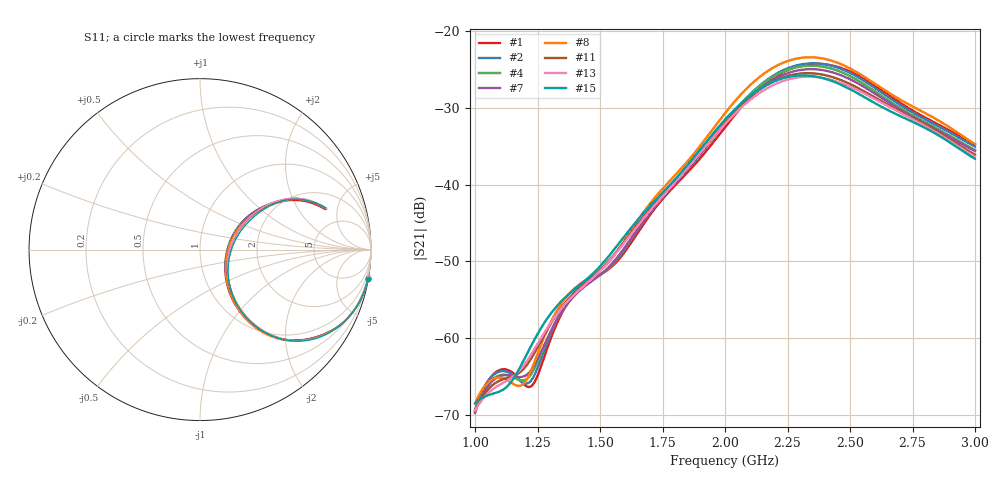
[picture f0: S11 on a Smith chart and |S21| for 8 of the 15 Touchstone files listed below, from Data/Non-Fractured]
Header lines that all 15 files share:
! TOUCHSTONE file generated by CST MICROWAVE STUDIO
! Project name: non_fractured.cst
! Header version: 2024
! Port assignment regex: !\s*Touchstone port\s*([0-9]+)\s*=\s*(CST MWS port|CST DES external port|CST DES block port)\s*(.+)\s* \(\"(.*)\"\)(\s*mode\s*([0-9]+))?.*
! Touchstone port assignment:
! Touchstone port 1 = CST MWS port 1 ("")
! Touchstone port 2 = CST MWS port 2 ("")
# GHz S DB R 50
Fixed: B = 2.5, D = 160, Feed = 2.85625, L = 100, M = 20, R = 0.384908, length = 57.125, wave = 114.25
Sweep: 1 GHz to 3 GHz
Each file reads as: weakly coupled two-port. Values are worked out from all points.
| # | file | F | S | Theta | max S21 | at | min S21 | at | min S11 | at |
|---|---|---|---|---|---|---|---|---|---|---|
| 1 | non_fractured_161.s2p | 5 | 1 | 0 | -24.24 dB | 2.366 GHz | -69.8 dB | 1 GHz | -16.2 dB | 2.38 GHz |
| 2 | non_fractured_165.s2p | 5 | 1.5 | 0 | -24.19 dB | 2.353 GHz | -69.4 dB | 1 GHz | -16.1 dB | 2.373 GHz |
| 3 | non_fractured_168.s2p | 5 | 1.5 | 270 | -24.19 dB | 2.353 GHz | -69.4 dB | 1 GHz | -16.1 dB | 2.373 GHz |
| 4 | non_fractured_169.s2p | 5 | 2 | 0 | -24.50 dB | 2.347 GHz | -69.5 dB | 1 GHz | -16.0 dB | 2.373 GHz |
| 5 | non_fractured_173.s2p | 5 | 2.5 | 0 | -24.96 dB | 2.347 GHz | -69.7 dB | 1 GHz | -15.9 dB | 2.38 GHz |
| 6 | non_fractured_174.s2p | 5 | 2.5 | 90 | -24.96 dB | 2.347 GHz | -69.7 dB | 1 GHz | -15.9 dB | 2.38 GHz |
| 7 | non_fractured_176.s2p | 5 | 2.5 | 270 | -24.96 dB | 2.342 GHz | -69.7 dB | 1 GHz | -15.9 dB | 2.382 GHz |
| 8 | non_fractured_177.s2p | 10 | 1 | 0 | -23.40 dB | 2.338 GHz | -68.6 dB | 1 GHz | -15.9 dB | 2.364 GHz |
| 9 | non_fractured_181.s2p | 10 | 1.5 | 0 | -24.62 dB | 2.333 GHz | -69.4 dB | 1 GHz | -15.4 dB | 2.38 GHz |
| 10 | non_fractured_184.s2p | 10 | 1.5 | 270 | -24.62 dB | 2.333 GHz | -69.4 dB | 1 GHz | -15.4 dB | 2.38 GHz |
| 11 | non_fractured_185.s2p | 10 | 2 | 0 | -25.48 dB | 2.329 GHz | -69.5 dB | 1 GHz | -15.3 dB | 2.382 GHz |
| 12 | non_fractured_186.s2p | 10 | 2 | 90 | -25.48 dB | 2.329 GHz | -69.5 dB | 1 GHz | -15.3 dB | 2.382 GHz |
| 13 | non_fractured_189.s2p | 10 | 2.5 | 0 | -25.93 dB | 2.333 GHz | -69.5 dB | 1 GHz | -15.4 dB | 2.373 GHz |
| 14 | non_fractured_193.s2p | 15 | 1 | 0 | -23.92 dB | 2.316 GHz | -68.1 dB | 1 GHz | -15.3 dB | 2.368 GHz |
| 15 | non_fractured_197.s2p | 15 | 1.5 | 0 | -25.77 dB | 2.314 GHz | -68.6 dB | 1 GHz | -15.0 dB | 2.366 GHz |
